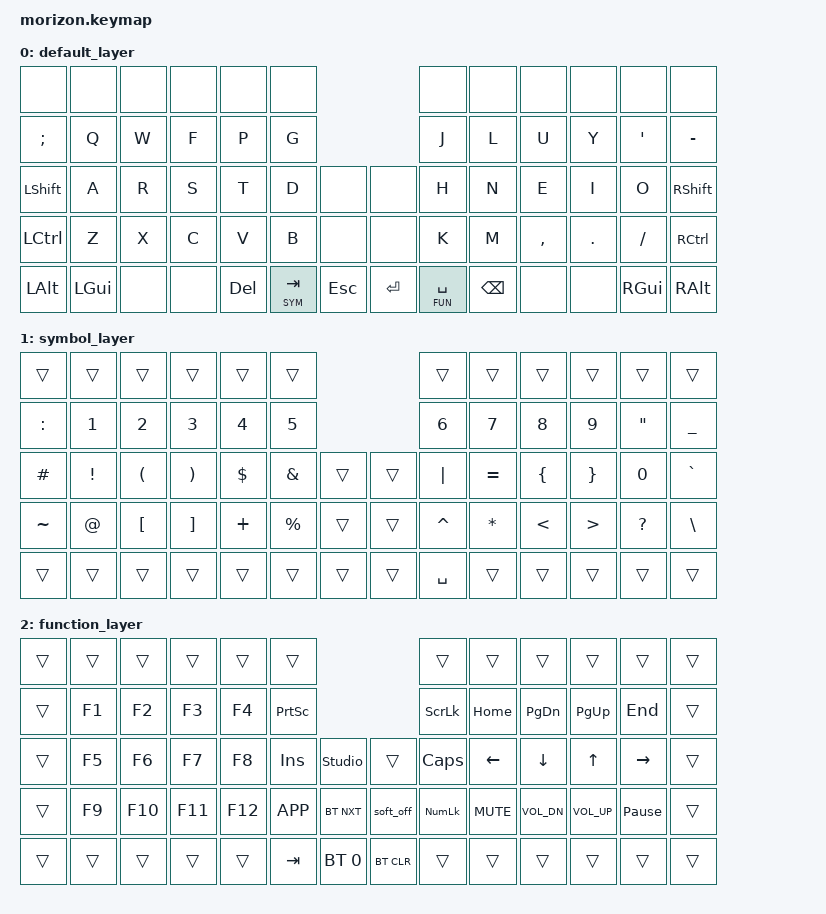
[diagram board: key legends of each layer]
/*
 * Copyright (c) 2022 The ZMK Contributors
 *
 * SPDX-License-Identifier: MIT
 */

#include <behaviors.dtsi>
#include <dt-bindings/zmk/keys.h>
#include <dt-bindings/zmk/bt.h>

#include <behaviors.dtsi>
#include <dt-bindings/zmk/keys.h>
#include <dt-bindings/zmk/bt.h>

#define DEF 0
#define SYM 1
#define FUN 2

&lt {
    tapping-term-ms = <180>;
    flavor = "tap-preferred";
};

/ {
    keymap {
        compatible = "zmk,keymap";

        default_layer {
            bindings = <
                &none     &none    &none &none &none   &none                         &none         &none    &none     &none   &none     &none
                &kp SEMI  &kp Q    &kp W &kp F &kp P   &kp G                         &kp J         &kp L    &kp U     &kp Y   &kp SQT   &kp MINUS
                &kp LSHFT &kp A    &kp R &kp S &kp T   &kp D       &none   &none     &kp H         &kp N    &kp E     &kp I   &kp O     &kp RSHFT
                &kp LCTRL &kp Z    &kp X &kp C &kp V   &kp B       &none   &none     &kp K         &kp M    &kp COMMA &kp DOT &kp SLASH &kp RCTRL
                &kp LALT  &kp LGUI &none &none &kp DEL &lt SYM TAB &kp ESC &kp ENTER &lt FUN SPACE &kp BSPC &none     &none   &kp RGUI  &kp RALT
            >;
        };

        symbol_layer {
            bindings = <
                &trans    &trans   &trans   &trans   &trans   &trans                  &trans    &trans    &trans   &trans   &trans    &trans
                &kp COLON &kp N1   &kp N2   &kp N3   &kp N4   &kp N5                  &kp N6    &kp N7    &kp N8   &kp N9   &kp DQT   &kp UNDER
                &kp HASH  &kp EXCL &kp LPAR &kp RPAR &kp DLLR &kp AMPS  &trans &trans &kp PIPE  &kp EQUAL &kp LBRC &kp RBRC &kp N0    &kp GRAVE
                &kp TILDE &kp AT   &kp LBKT &kp RBKT &kp PLUS &kp PRCNT &trans &trans &kp CARET &kp ASTRK &kp LT   &kp GT   &kp QMARK &kp BSLH
                &trans    &trans   &trans   &trans   &trans   &trans    &trans &trans &kp SPACE &trans    &trans   &trans   &trans    &trans
            >;
        };

        function_layer {
            bindings = <
                &trans &trans &trans  &trans  &trans  &trans                               &trans     &trans     &trans       &trans       &trans          &trans
                &trans &kp F1 &kp F2  &kp F3  &kp F4  &kp PSCRN                            &kp SLCK   &kp HOME   &kp PG_DN    &kp PG_UP    &kp END         &trans
                &trans &kp F5 &kp F6  &kp F7  &kp F8  &kp INS    &studio_unlock &trans     &kp CLCK   &kp LEFT   &kp DOWN     &kp UP       &kp RIGHT       &trans
                &trans &kp F9 &kp F10 &kp F11 &kp F12 &kp K_APP  &bt BT_NXT     &soft_off  &kp KP_NUM &kp C_MUTE &kp C_VOL_DN &kp C_VOL_UP &kp PAUSE_BREAK &trans
                &trans &trans &trans  &trans  &trans  &kp TAB    &bt BT_SEL 0   &bt BT_CLR &trans     &trans     &trans       &trans       &trans          &trans
            >;
        };
    };
};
